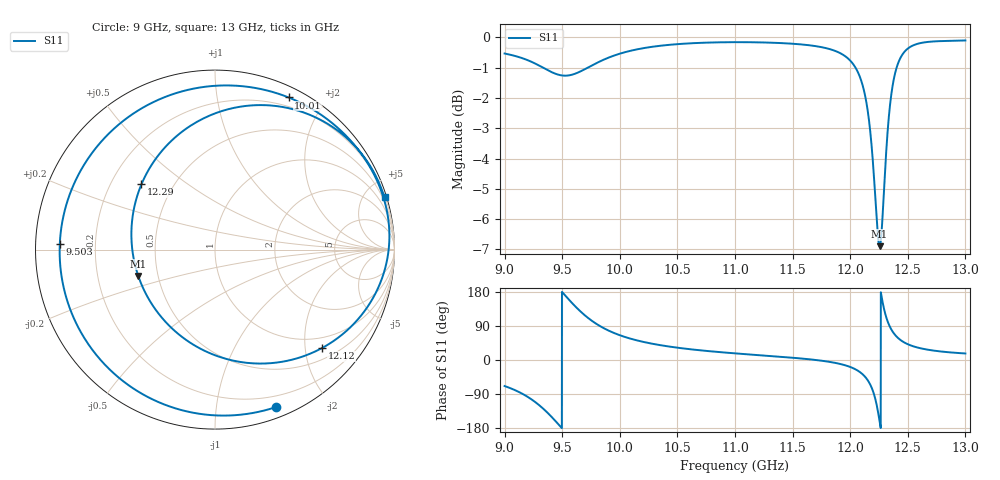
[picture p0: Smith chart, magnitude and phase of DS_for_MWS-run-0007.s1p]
! TOUCHSTONE file generated by CST DESIGN STUDIO
! Date and time: Tue Feb  4 16:29:43 2025
! Project name: C:\Work\MatlabApps\UnitCellOptimizationMatlab\CST\unitcell.cst
! Tree item: Tasks\Sweep1\SPara1\S-Parameters
! Header version: 2024
! Port assignment regex: !\s*Touchstone port\s*([0-9]+)\s*=\s*(CST MWS port|CST DES external port|CST DES block port)\s*(.+)\s* \(\"(.*)\"\)(\s*mode\s*([0-9]+))?.*
! Touchstone port assignment:
! Touchstone port 1 = CST DES external port 1 ("")
# GHz S MA R 50
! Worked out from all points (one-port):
!   4001 points, 9 GHz to 13 GHz, reference 50 ohm
!   lowest |S11| = -6.9 dB at 12.26 GHz (marker M1), VSWR 2.65, Z = 19.3 - j7.15 ohm
!   |S11| at or under -10 dB: nowhere
!   S11 on the Smith chart (normalised r, x): 9 GHz: 0.10, -1.46; 9.503 GHz: 0.07, +0.02; 10.01 GHz: 0.11, +1.59; 12.12 GHz: 0.74, -2.37; 12.29 GHz: 0.33, +0.34; 13 GHz: 0.25, +6.59
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9  0.9409 -68.7
9.168  0.9223 -91.5
9.283  0.9021 -115.0
9.383  0.8813 -142.4
9.5  0.8654 179.1
9.503  0.8653 178.0
9.617  0.872 140.4
9.717  0.8906 112.8
9.834  0.9142 88.5
10  0.9403 65.4
10.011  0.9417 64.2
10.221  0.9614 46.7
10.5  0.975 32.5
11  0.9824 17.5
11.5  0.9766 6.0
11.806  0.9587 -4.2
12  0.9159 -18.4
12.124  0.8105 -42.5
12.201  0.6085 -85.0
12.228  0.5066 -115.9
12.255  0.452 -161.0
12.291  0.5482 138.3
12.323  0.6919 103.6
12.359  0.8107 79.5
12.421  0.912 56.5
12.5  0.9587 41.6
12.67  0.9831 27.4
13  0.9888 17.2
